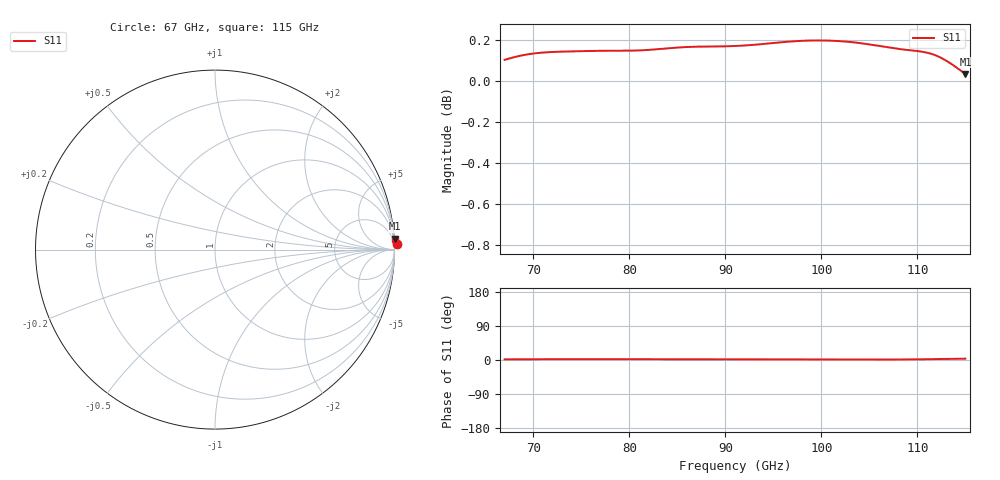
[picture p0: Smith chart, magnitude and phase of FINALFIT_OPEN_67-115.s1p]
! Generated by Phase I extraction
# Hz S RI R 50
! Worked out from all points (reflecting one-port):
!   1001 points, 67 GHz to 115 GHz, reference 50 ohm
!   lowest |S11| = 0.0 dB at 115 GHz (marker M1)
!   phase of S11 starts at 2 deg and turns +2 deg over the sweep
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6.7e10  1.011 0.0316
6.8536e10  1.013 0.0346
6.9736e10  1.015 0.0368
7.1464e10  1.015 0.0395
7.3e10  1.016 0.0409
7.5256e10  1.016 0.0411
7.9e10  1.016 0.0391
8.1112e10  1.017 0.0383
8.308e10  1.017 0.0377
8.5e10  1.018 0.0363
8.8312e10  1.019 0.0328
9.1e10  1.019 0.032
9.4072e10  1.02 0.0309
9.5416e10  1.021 0.0296
9.7e10  1.022 0.0275
1.00024e11  1.023 0.0234
1.03e11  1.022 0.0204
1.0492e11  1.021 0.0191
1.0636e11  1.019 0.0194
1.07656e11  1.018 0.0214
1.09e11  1.017 0.0255
1.0996e11  1.017 0.0294
1.11016e11  1.015 0.0385
1.11448e11  1.014 0.0416
1.11928e11  1.013 0.0444
1.12744e11  1.011 0.0483
1.13608e11  1.008 0.0523
1.15e11  1.002 0.0606
